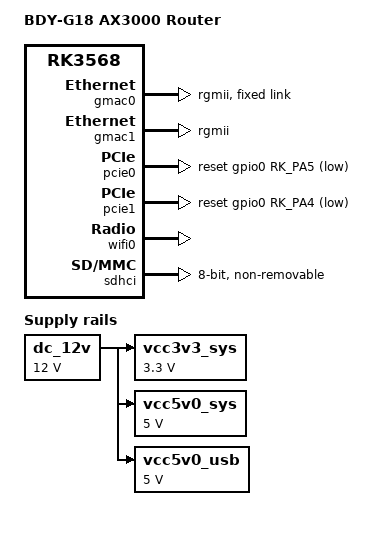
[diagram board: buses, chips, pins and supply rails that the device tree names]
// SPDX-License-Identifier: (GPL-2.0+ OR MIT)

/dts-v1/;

#include <dt-bindings/gpio/gpio.h>
#include <dt-bindings/pwm/pwm.h>
#include <dt-bindings/leds/common.h>
#include <dt-bindings/input/input.h>
#include <dt-bindings/soc/rockchip,vop2.h>
#include <dt-bindings/pinctrl/rockchip.h>
#include "rk3568.dtsi"

/ {
	model = "BDY-G18 AX3000 Router";
	compatible = "bdy,g18-pro", "rockchip,rk3568";

	aliases {
		ethernet0 = &gmac0;
		ethernet1 = &gmac1;
		mmc0 = &sdhci;
	};

	chosen: chosen {
		stdout-path = "serial2:1500000n8";
	};

	fiq-debugger {
		compatible = "rockchip,fiq-debugger";
		rockchip,serial-id = <2>;
		rockchip,wake-irq = <0>;
		rockchip,irq-mode-enable = <1>;
		rockchip,baudrate = <1500000>;
		interrupts = <GIC_SPI 252 IRQ_TYPE_LEVEL_LOW>;
		pinctrl-names = "default";
		pinctrl-0 = <&uart2m0_xfer>;
		status = "okay";
	};

	dc_12v: dc-12v {
		compatible = "regulator-fixed";
		regulator-name = "dc_12v";
		regulator-always-on;
		regulator-boot-on;
		regulator-min-microvolt = <12000000>;
		regulator-max-microvolt = <12000000>;
	};

	vcc3v3_sys: vcc3v3-sys {
		compatible = "regulator-fixed";
		regulator-name = "vcc3v3_sys";
		regulator-always-on;
		regulator-boot-on;
		regulator-min-microvolt = <3300000>;
		regulator-max-microvolt = <3300000>;
		vin-supply = <&dc_12v>;
	};

	vcc5v0_sys: vcc5v0-sys {
		compatible = "regulator-fixed";
		regulator-name = "vcc5v0_sys";
		regulator-always-on;
		regulator-boot-on;
		regulator-min-microvolt = <5000000>;
		regulator-max-microvolt = <5000000>;
		vin-supply = <&dc_12v>;
	};

	vcc5v0_usb: vcc5v0-usb {
		compatible = "regulator-fixed";
		regulator-name = "vcc5v0_usb";
		regulator-always-on;
		regulator-boot-on;
		regulator-min-microvolt = <5000000>;
		regulator-max-microvolt = <5000000>;
		vin-supply = <&dc_12v>;
	};
};

&cpu_0 {
	device_type = "cpu";
	reg = <0x0>;
	clocks = <&cru ARMCLK>;
	clock-names = "arm";
	operating-points = <
		( 800000  900000 )
		( 1008000 950000 )
		( 1512000 1050000 )
	>;
	clock-frequency = <800000>;
};

&gmac0 {
	phy-mode = "rgmii";
	rockchip,pinmux = <
		GRF_GPIO1D_IP_SEL_CFG(2, 0x0)
		GRF_GPIO1D_IP_SEL_CFG(3, 0x0)
		GRF_GPIO1D_IP_SEL_CFG(4, 0x0)
		GRF_GPIO1D_IP_SEL_CFG(5, 0x0)
		GRF_GPIO1D_IP_SEL_CFG(6, 0x0)
		GRF_GPIO1D_IP_SEL_CFG(7, 0x0)
	>;
	pinctrl-names = "default";
	pinctrl-0 = <&rgmii0_pins>;
	rx delays = <0x20>;
	tx delays = <0x20>;

	fixed-link {
		speed = <1000>;
		full-duplex;
	};
};

&gmac1 {
	phy-mode = "rgmii";
	rockchip,pinmux = <
		GRF_GPIO1C_IP_SEL_CFG(0, 0x0)
		GRF_GPIO1C_IP_SEL_CFG(1, 0x0)
		GRF_GPIO1C_IP_SEL_CFG(2, 0x0)
		GRF_GPIO1C_IP_SEL_CFG(3, 0x0)
		GRF_GPIO1C_IP_SEL_CFG(4, 0x0)
		GRF_GPIO1C_IP_SEL_CFG(5, 0x0)
		GRF_GPIO1C_IP_SEL_CFG(6, 0x0)
		GRF_GPIO1C_IP_SEL_CFG(7, 0x0)
	>;
	pinctrl-names = "default";
	pinctrl-0 = <&rgmii1_pins>;
	rx delays = <0x20>;
	tx delays = <0x20>;
};

&pcie0 {
	reset-gpios = <&gpio0 RK_PA5 GPIO_ACTIVE_LOW>;
	status = "okay";
};

&pcie1 {
	reset-gpios = <&gpio0 RK_PA4 GPIO_ACTIVE_LOW>;
	status = "okay";
};

&wifi0 {
	compatible = "rockchip,brcmfmac43456-sdio-rk3568";
	reg = <0>;
	pinctrl-names = "default";
	pinctrl-0 = <&wifi_enable_h>;
	interrupt-parent = <&gpio0>;
	interrupts = <RK_PA3 IRQ_TYPE_LEVEL_HIGH>;
	interrupt-names = "host-notify";
	status = "okay";
};

&sdhci {
	bus-width = <8>;
	no-1-8-v;
	non-removable;
	mmc-hs200-1_8v;
	disable-wp;
	status = "okay";
};
